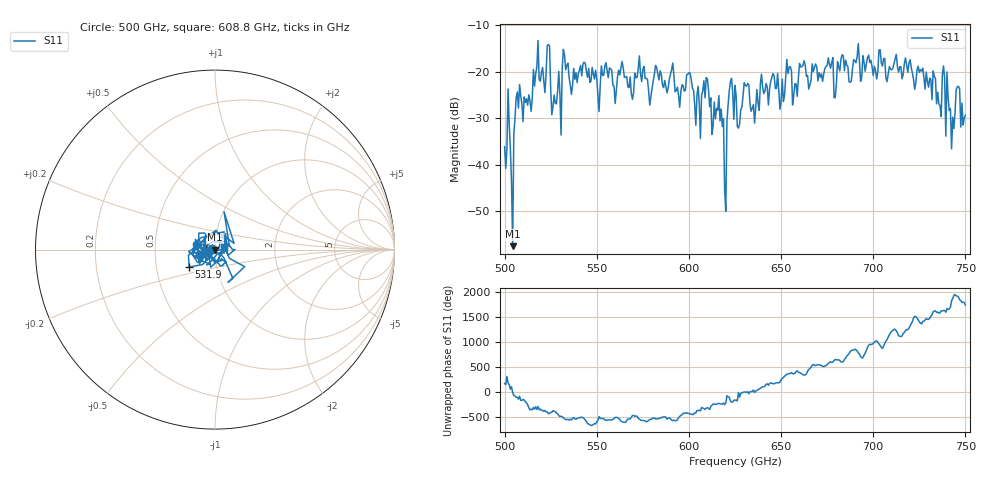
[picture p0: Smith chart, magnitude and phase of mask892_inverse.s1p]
!Created with skrf (http://scikit-rf.org).
# GHz S MA R 50.0
!freq magS11 angS11
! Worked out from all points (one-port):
!   401 points, 500 GHz to 750 GHz, reference 50 ohm
!   lowest |S11| = -57.5 dB at 504.4 GHz (marker M1), VSWR 1.00, Z = 50.1 - j0.0109 ohm
!   |S11| at or under -10 dB: start of sweep to end of sweep
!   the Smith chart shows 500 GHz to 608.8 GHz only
!   S11 on the Smith chart (normalised r, x): 500 GHz: 0.97, +0.00; 531.9 GHz: 0.74, -0.15; 608.8 GHz: 1.11, +0.03
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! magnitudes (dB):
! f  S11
! 500 GHz  -36.1
! 501.9 GHz  -23.7
! 504.4 GHz  -57.5
! 507.5 GHz  -27.8
! 513.8 GHz  -26.2
! 516.9 GHz  -20.4
! 523.8 GHz  -14.2
! 526.9 GHz  -25.0
! 531.2 GHz  -19.3
! 531.9 GHz  -15.2
! 562.5 GHz  -20.7
! 579.4 GHz  -25.3
! 590.6 GHz  -19.5
! 593.8 GHz  -23.3
! 600 GHz  -20.2
! 605 GHz  -23.1
! 608.8 GHz  -25.6
! 617.5 GHz  -28.0
! 619.4 GHz  -45.4
! 622.5 GHz  -22.2
! 625 GHz  -23.0
! 654.4 GHz  -19.0
! 656.2 GHz  -27.2
! 661.2 GHz  -18.9
! 687.5 GHz  -22.3
! 690.6 GHz  -18.1
! 718.8 GHz  -20.1
! 750 GHz  -29.3
